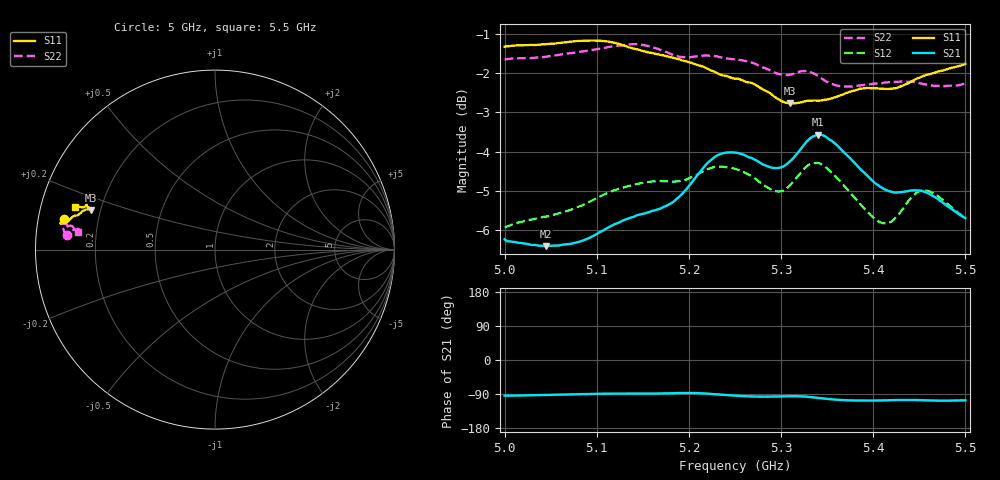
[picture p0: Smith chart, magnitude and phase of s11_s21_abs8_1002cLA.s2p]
! MS46122B
! 1919307/90821646
! 5/25/2022 2:14:14 PM
! C:\USERS\PC_\DESKTOP\CARACTERIZACION\MEDICIONES\BANCHA ESTRECHA\5_55GHZ\S11_S21_ABS8_1002CL.S2P
! CHANNEL.1
! TR.MEASUREMENT
! CORRECTED.DATA
# GHZ S RI R 50.0
! FREQ.GHZ  S11RE  S11IM  S21RE  S21IM  S12RE  S12IM  S22RE  S22IM
!; PortSelection: Port_12
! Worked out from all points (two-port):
!   201 points, 5 GHz to 5.5 GHz, reference 50 ohm
!   highest |S21| = -3.57 dB at 5.34 GHz (marker M1); lowest = -6.4 dB at 5.045 GHz (marker M2)
!   |S21| within 3 dB of the highest: start of sweep to end of sweep
!   lowest |S11| = -2.8 dB at 5.31 GHz (marker M3), VSWR 6.32, Z = 8.09 + j7.61 ohm
!   |S11| at or under -10 dB: nowhere
!   |S22| runs from -2.3 to -1.3 dB; largest |S21 - S12| = 0.073
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5  -0.8417 0.1708  -0.0327 -0.4868  0.0127 -0.5051  -0.8237 0.0797
5.045  -0.8513 0.1529  -0.0215 -0.4775  0.0113 -0.5213  -0.8294 0.0848
5.085  -0.861 0.1459  -0.000165 -0.4859  0.0112 -0.5393  -0.8405 0.1041
5.1375  -0.8436 0.1437  0.00998 -0.5201  -0.0126 -0.5713  -0.8537 0.1394
5.1675  -0.8254 0.1509  0.0146 -0.5328  -0.0291 -0.5781  -0.8401 0.1432
5.21  -0.7927 0.1831  0.0262 -0.5897  -0.0391 -0.5897  -0.8265 0.1206
5.23  -0.7724 0.1901  -0.00399 -0.6233  -0.0603 -0.6009  -0.8256 0.1257
5.25  -0.7567 0.1956  -0.0441 -0.6277  -0.0853 -0.5937  -0.817 0.1299
5.28  -0.7251 0.2202  -0.0713 -0.6035  -0.0993 -0.5648  -0.7973 0.1317
5.2975  -0.7005 0.2238  -0.0632 -0.5981  -0.083 -0.555  -0.7839 0.1162
5.31  -0.6923 0.2216  -0.058 -0.6112  -0.0716 -0.5674  -0.7843 0.1028
5.325  -0.6959 0.2247  -0.0709 -0.6402  -0.0829 -0.5944  -0.7931 0.1013
5.335  -0.6962 0.2292  -0.0978 -0.6527  -0.1063 -0.6008  -0.7869 0.1086
5.34  -0.6955 0.2303  -0.1149 -0.6533  -0.1184 -0.5988  -0.7808 0.1096
5.3575  -0.7021 0.2327  -0.1597 -0.6277  -0.1466 -0.5706  -0.7617 0.0984
5.3775  -0.7139 0.2431  -0.1762 -0.5886  -0.1494 -0.5347  -0.7589 0.0893
5.4025  -0.717 0.2517  -0.1677 -0.5494  -0.1206 -0.5027  -0.7642 0.0975
5.4175  -0.7172 0.2472  -0.1565 -0.5395  -0.0932 -0.5037  -0.7666 0.1041
5.435  -0.7313 0.2368  -0.1481 -0.5416  -0.0774 -0.5341  -0.7669 0.1119
5.4525  -0.7497 0.2375  -0.1563 -0.5403  -0.0985 -0.5541  -0.7617 0.1162
5.475  -0.764 0.239  -0.162 -0.5192  -0.1247 -0.5336  -0.7574 0.1073
5.5  -0.7807 0.2368  -0.1462 -0.4981  -0.1123 -0.5072  -0.7643 0.1006
